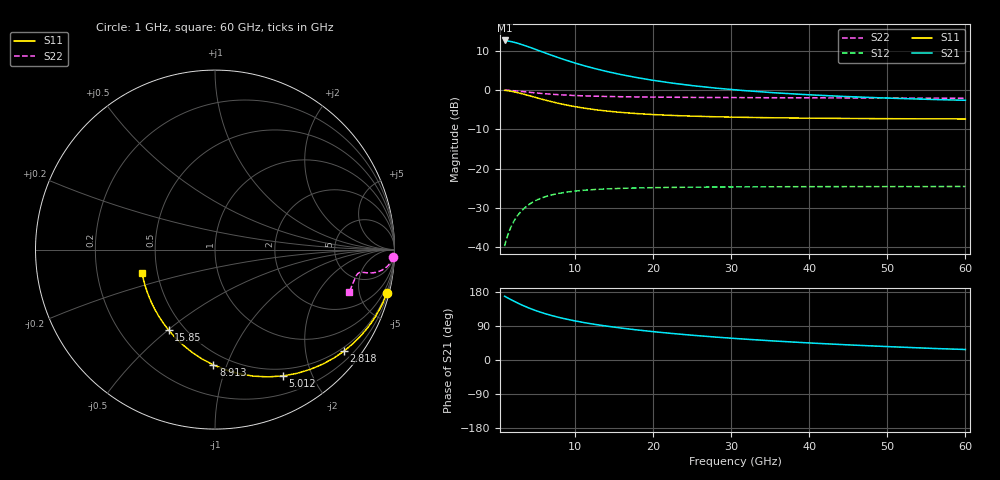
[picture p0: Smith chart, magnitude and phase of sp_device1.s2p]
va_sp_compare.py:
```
"""
va_sp_compare.py - Step 10c: compare Spectre's S-parameters of graded_hemt.va (va/sp_device1.s2p) with rf_twin.py.
Run:  python3 va_sp_compare.py
This checks the Verilog-A charges and extrinsic elements in AC (Step 10a checked DC only).
Pass criterion [ASSUME, set before the run]: H21 and U within 0.05 dB, |Y| within 0.5 % at every frequency.
Touchstone 2-port data order is S11 S21 S12 S22 [Touchstone 1.1 specification, EIA/IBIS].
"""
import numpy as np
from rf_twin import RF
from va_netlists import SP1


def read_s2p(fn):
    unit, fmt, z0 = "GHZ", "MA", 50.0
    mult = {"HZ": 1, "KHZ": 1e3, "MHZ": 1e6, "GHZ": 1e9}
    rows = []
    for ln in open(fn):
        ln = ln.split("!")[0].strip()
        if not ln:
            continue
        if ln.startswith("#"):
            t = ln[1:].upper().split()
            for i, w in enumerate(t):
                if w in mult:
                    unit = w
                if w in ("MA", "DB", "RI"):
                    fmt = w
                if w == "R":
                    z0 = float(t[i + 1])
            continue
        rows += [float(x) for x in ln.split()]
    a = np.array(rows).reshape(-1, 9)
    f = a[:, 0] * mult[unit]
    p = a[:, 1:].reshape(-1, 4, 2)
    if fmt == "RI":
        v = p[..., 0] + 1j * p[..., 1]
    elif fmt == "MA":
        v = p[..., 0] * np.exp(1j * np.deg2rad(p[..., 1]))
    else:
        v = 10 ** (p[..., 0] / 20) * np.exp(1j * np.deg2rad(p[..., 1]))
    S = np.zeros((len(f), 2, 2), complex)
    S[:, 0, 0], S[:, 1, 0], S[:, 0, 1], S[:, 1, 1] = v[:, 0], v[:, 1], v[:, 2], v[:, 3]
    return f, S, z0


def s_to_y(S, z0):
    I = np.eye(2)
    return np.array([np.linalg.solve(I + s, I - s) / z0 for s in S])


if __name__ == "__main__":
    f, S, z0 = read_s2p("va/sp_device1.s2p")
    Ysp = s_to_y(S, z0)
    r = RF(1, rg=SP1["rg"], cgs=SP1["cgsfr"], cgd=SP1["cgdfr"], cds=SP1["cdsfr"])
    Ytw, I = r.y2(f, SP1["vgs"], SP1["vds"])
    hs, us = RF.gains(Ysp)
    ht, ut = RF.gains(Ytw)
    dh = np.max(np.abs(20 * np.log10(hs / ht)))
    du = np.max(np.abs(10 * np.log10(us / ut)))
    dy = np.max(np.abs(Ysp - Ytw) / np.abs(Ytw).max(axis=(1, 2))[:, None, None])
    print(f"Device 1, V_GS = {SP1['vgs']} V, V_DS = {SP1['vds']} V, {len(f)} frequencies {f[0] / 1e9:.1f}-{f[-1] / 1e9:.1f} GHz")
    print(f"  H21: worst difference {dh:.4f} dB   (criterion 0.05 dB)")
    print(f"  U  : worst difference {du:.4f} dB   (criterion 0.05 dB)")
    print(f"  Y  : worst difference {100 * dy:.3f} % of max |Y|   (criterion 0.5 %)")
    for k in (0, len(f) // 2, len(f) - 1):
        print(f"    {f[k] / 1e9:6.2f} GHz: H21 Spectre {20 * np.log10(hs[k]):6.2f} twin {20 * np.log10(ht[k]):6.2f} dB | "
              f"U Spectre {10 * np.log10(us[k]):6.2f} twin {10 * np.log10(ut[k]):6.2f} dB")
```
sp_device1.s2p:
! Touchstone Ver. 1.0
! Number of ports is 2
# Hz	S	RI	R	50.000000
! SCATTERING PARAMETERS  :
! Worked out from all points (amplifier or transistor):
!   37 points, 1 GHz to 60 GHz, reference 50 ohm
!   highest |S21| = 12.6 dB at 1 GHz (marker M1)
!   |S21| within 3 dB of that: start of sweep to 5.964 GHz
!   unconditionally stable (mu >= 1): 9.075 GHz to end of sweep
!   at 1.995 GHz: K = 0.23, MSG = 23.1 dB, |S12| = -34.1 dB
!   at 7.943 GHz: K = 0.88, MSG = 17.2 dB, |S12| = -26.3 dB
!   at 60 GHz: K = 3.92, MAG = 2.1 dB, |S12| = -24.5 dB
!   S11 on the Smith chart (normalised r, x): 1 GHz: 0.41, -8.00; 2.818 GHz: 0.41, -2.84; 5.012 GHz: 0.41, -1.60; 8.913 GHz: 0.41, -0.90; 15.85 GHz: 0.41, -0.50; 60 GHz: 0.41, -0.13
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1e9  0.9573 -0.2424  -4.161 0.8587  0.00179 0.0102  0.9936 -0.0399
2.818383e9  0.7193 -0.5651  -3.316 2  0.0118 0.0237  0.9581 -0.0949
3.981072e9  0.5321 -0.6668  -2.651 2.359  0.0196 0.028  0.93 -0.1144
5.011872e9  0.3784 -0.7037  -2.105 2.488  0.0261 0.0295  0.907 -0.1238
7.079458e9  0.1364 -0.6921  -1.246 2.442  0.0363 0.029  0.8706 -0.1299
8.912509e9  -0.00926 -0.6425  -0.7293 2.262  0.0424 0.027  0.8485 -0.1294
1.258925e10  -0.1788 -0.5313  -0.1277 1.859  0.0495 0.0223  0.8223 -0.1266
1.584893e10  -0.2572 -0.4501  0.1497 1.563  0.0528 0.0189  0.8094 -0.1267
2.238721e10  -0.3327 -0.3378  0.416 1.15  0.0559 0.0141  0.795 -0.1343
3.162278e10  -0.374 -0.2465  0.5592 0.8057  0.0577 0.0103  0.7826 -0.1547
6e10  -0.4057 -0.133  0.6531 0.3434  0.059 0.0055  0.7466 -0.2373
